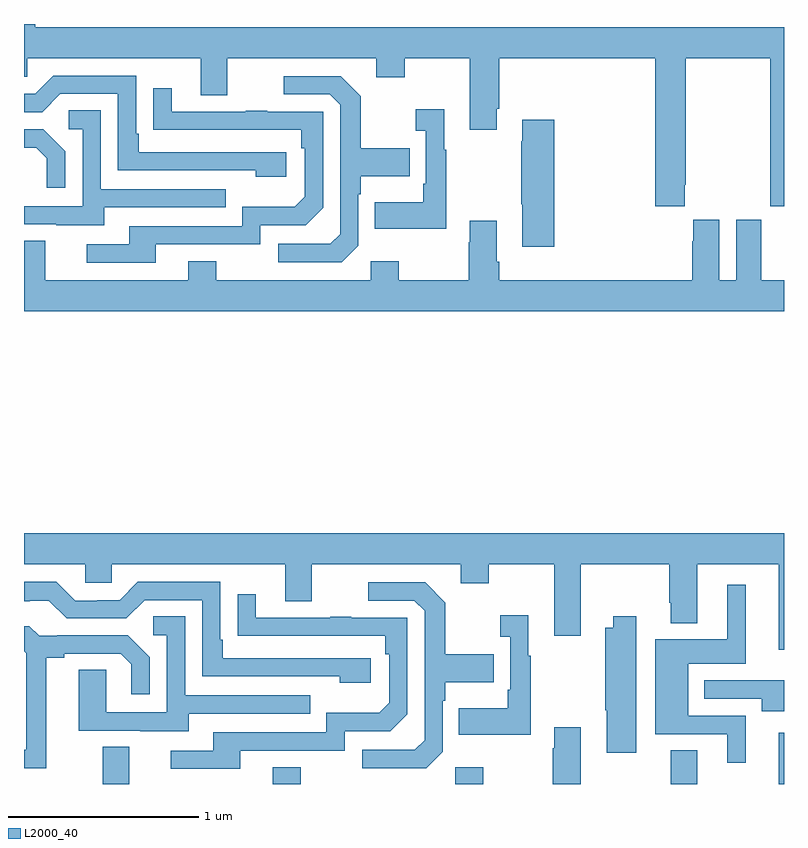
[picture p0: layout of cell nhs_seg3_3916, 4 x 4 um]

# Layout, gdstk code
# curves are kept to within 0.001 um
import gdstk
lib = gdstk.Library(unit=1e-6, precision=1e-09)
def R(c, l, rs):  # rectangles x0, y0, x1, y1
    for r in rs: c.add(gdstk.rectangle(r[:2], r[2:], *l))
def P(c, l, *ps):  # polygons
    for p in ps: c.add(gdstk.Polygon(p, *l))
L2000_40 = (2000, 40)

nhs_seg3_3916 = lib.new_cell('nhs_seg3_3916')
R(nhs_seg3_3916, L2000_40, [(313.415,726.4,313.555,726.596), (314.309,726.4,314.457,726.487), (315.27,726.4,315.417,726.487), (316.403,726.4,316.543,726.577), (316.973,726.4,317,726.67)])
P(nhs_seg3_3916, L2000_40, [(316.477,729.553),(316.482,729.553),(316.482,730.22),(316.927,730.22),(316.927,729.441),(317,729.441),(317,730.384),(313.058,730.384),(313.058,730.4),(313,730.4),(313,730.122),(313.017,730.122),(313.017,730.22),(313.931,730.22),(313.931,730.026),(314.071,730.026),(314.071,730.22),(314.855,730.22),(314.855,730.121),(315.003,730.121),(315.003,730.22),(315.347,730.22),(315.347,729.843),(315.487,729.843),(315.487,729.955),(315.5,729.955),(315.5,730.22),(316.322,730.22),(316.322,729.441),(316.477,729.441)],
  [(314.38,729.726),(313.603,729.726),(313.603,729.823),(313.59,729.823),(313.59,730.128),(313.155,730.128),(313.059,730.032),(313,730.032),(313,729.936),(313.095,729.936),(313.191,730.032),(313.494,730.032),(313.494,729.63),(314.219,729.63),(314.219,729.596),(314.38,729.596)],
  [(314.76,729.234),(314.76,729.503),(314.773,729.503),(314.773,729.599),(315.029,729.599),(315.029,729.747),(314.773,729.747),(314.773,730.019),(314.667,730.125),(314.367,730.125),(314.367,730.029),(314.61,730.029),(314.664,729.975),(314.664,729.294),(314.613,729.243),(314.337,729.243),(314.337,729.147),(314.673,729.147)],
  [(313.693,729.24),(314.244,729.24),(314.244,729.342),(314.484,729.342),(314.574,729.432),(314.574,729.939),(314.279,729.939),(314.279,729.944),(314.167,729.944),(314.167,729.939),(313.777,729.939),(313.777,730.063),(313.681,730.063),(313.681,729.844),(314.458,729.843),(314.458,729.746),(314.478,729.746),(314.478,729.492),(314.425,729.439),(314.148,729.439),(314.148,729.336),(313.553,729.336),(313.553,729.24),(313.329,729.24),(313.329,729.144),(313.693,729.144)],
  [(315.223,729.739),(315.211,729.739),(315.211,729.952),(315.063,729.952),(315.063,729.839),(315.114,729.839),(315.114,729.559),(315.102,729.559),(315.102,729.463),(314.845,729.463),(314.845,729.323),(315.223,729.323)],
  [(313.423,729.435),(314.063,729.435),(314.063,729.531),(313.404,729.531),(313.404,729.947),(313.236,729.947),(313.236,729.846),(313.308,729.846),(313.308,729.441),(313,729.441),(313,729.345),(313.169,729.345),(313.169,729.341),(313.423,729.341)],
  [(315.791,729.895),(315.623,729.895),(315.623,729.782),(315.616,729.782),(315.616,729.451),(315.623,729.451),(315.623,729.228),(315.791,729.228)],
  [(313.218,729.73),(313.102,729.846),(313,729.846),(313,729.75),(313.064,729.75),(313.121,729.693),(313.121,729.537),(313.218,729.537)],
  [(317,729.052),(316.879,729.052),(316.879,729.37),(316.748,729.37),(316.748,729.052),(316.66,729.052),(316.66,729.37),(316.523,729.37),(316.523,729.257),(316.517,729.257),(316.517,729.052),(315.5,729.052),(315.5,729.148),(315.487,729.148),(315.487,729.364),(315.347,729.364),(315.347,729.251),(315.34,729.251),(315.34,729.052),(314.973,729.052),(314.973,729.151),(314.826,729.151),(314.826,729.052),(314.013,729.052),(314.013,729.151),(313.865,729.151),(313.865,729.052),(313.111,729.052),(313.111,729.26),(313,729.26),(313,728.888),(317,728.888)],
  [(317,727.72),(313,727.72),(313,727.556),(313.323,727.556),(313.323,727.458),(313.461,727.458),(313.461,727.556),(314.375,727.556),(314.375,727.362),(314.515,727.362),(314.515,727.556),(315.299,727.556),(315.299,727.457),(315.447,727.457),(315.447,727.556),(315.791,727.556),(315.791,727.179),(315.931,727.179),(315.931,727.556),(316.396,727.556),(316.396,727.354),(316.403,727.354),(316.403,727.247),(316.543,727.247),(316.543,727.556),(316.973,727.556),(316.973,727.107),(317,727.107)],
  [(314.824,727.062),(314.047,727.062),(314.047,727.159),(314.034,727.159),(314.034,727.464),(313.599,727.464),(313.503,727.368),(313.385,727.368),(313.385,727.365),(313.269,727.365),(313.169,727.465),(313,727.465),(313,727.361),(313.031,727.361),(313.031,727.365),(313.131,727.365),(313.224,727.272),(313.539,727.272),(313.635,727.368),(313.938,727.368),(313.938,726.966),(314.663,726.966),(314.663,726.932),(314.824,726.932)],
  [(315.204,726.57),(315.204,726.839),(315.217,726.839),(315.217,726.935),(315.473,726.935),(315.473,727.083),(315.217,727.083),(315.217,727.355),(315.111,727.461),(314.811,727.461),(314.811,727.365),(315.054,727.365),(315.108,727.311),(315.108,726.63),(315.057,726.579),(314.781,726.579),(314.781,726.483),(315.117,726.483)],
  [(316.798,726.759),(316.495,726.759),(316.495,727.034),(316.798,727.034),(316.798,727.45),(316.7,727.45),(316.7,727.162),(316.322,727.162),(316.322,726.663),(316.7,726.663),(316.7,726.513),(316.798,726.513)],
  [(314.137,726.576),(314.688,726.576),(314.688,726.678),(314.928,726.678),(315.018,726.768),(315.018,727.275),(314.723,727.275),(314.723,727.28),(314.611,727.28),(314.611,727.275),(314.221,727.275),(314.221,727.399),(314.125,727.399),(314.125,727.18),(314.902,727.179),(314.902,727.082),(314.922,727.082),(314.922,726.828),(314.869,726.775),(314.592,726.775),(314.592,726.672),(313.997,726.672),(313.997,726.576),(313.773,726.576),(313.773,726.48),(314.137,726.48)],
  [(315.667,727.075),(315.655,727.075),(315.655,727.288),(315.507,727.288),(315.507,727.175),(315.558,727.175),(315.558,726.895),(315.546,726.895),(315.546,726.799),(315.289,726.799),(315.289,726.659),(315.667,726.659)],
  [(313.867,726.771),(314.507,726.771),(314.507,726.867),(313.848,726.867),(313.848,727.283),(313.68,727.283),(313.68,727.182),(313.752,727.182),(313.752,726.777),(313.434,726.777),(313.434,727.001),(313.289,727.001),(313.289,726.681),(313.613,726.681),(313.613,726.677),(313.867,726.677)],
  [(316.222,727.282),(316.1,727.282),(316.1,727.222),(316.06,727.222),(316.06,726.787),(316.067,726.787),(316.067,726.564),(316.222,726.564)],
  [(313.117,727.064),(313.213,727.064),(313.213,727.086),(313.508,727.086),(313.565,727.029),(313.565,726.873),(313.662,726.873),(313.662,727.066),(313.546,727.182),(313.174,727.182),(313.174,727.179),(313.08,727.179),(313.028,727.231),(313,727.231),(313,727.1),(313.013,727.087),(313.013,726.579),(313,726.579),(313,726.483),(313.117,726.483)],
  [(317,726.946),(316.887,726.946),(316.887,726.945),(316.58,726.945),(316.58,726.849),(316.883,726.849),(316.883,726.782),(317,726.782)],
  [(315.931,726.7),(315.791,726.7),(315.791,726.587),(315.784,726.587),(315.784,726.4),(315.931,726.4)])

lib.write_gds('nhs_seg3_3916.gds')
